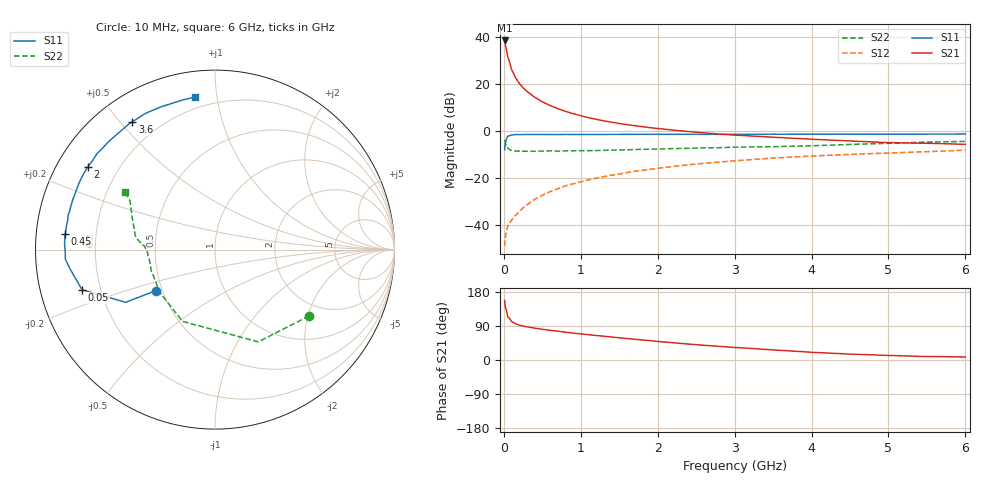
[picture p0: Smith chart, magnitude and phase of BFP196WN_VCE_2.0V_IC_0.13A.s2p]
! (c) 2017  Infineon Technologies AG, Munich
! Infineon Technologies  Discrete & RF Semiconductors
! BFP196WN
! VCE =  2.0 V,  IC = 0.13 A
! Common Emitter S-Parameters:  Jan 2017
# GHz  S  MA  R  50
!  f  S11  S21  S12  S22
! GHz  MAG  ANG  MAG  ANG  MAG  ANG  MAG  ANG
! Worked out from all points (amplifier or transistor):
!   77 points, 10 MHz to 6 GHz, reference 50 ohm
!   highest |S21| = 38.3 dB at 10 MHz (marker M1)
!   |S21| within 3 dB of that: start of sweep to 27.75 MHz
!   unconditionally stable (mu >= 1): 216.4 MHz to 3.402 GHz; 4.282 GHz to 5.434 GHz
!   at 130 MHz: K = 0.84, MSG = 30.4 dB, |S12| = -36.6 dB
!   at 2.2 GHz: K = 1.05, MAG = 6.3 dB, |S12| = -15.1 dB
!   at 6 GHz: K = 0.98, MSG = 1.2 dB, |S12| = -8.2 dB
!   S11 on the Smith chart (normalised r, x): 10 MHz: 0.46, -0.25; 50 MHz: 0.13, -0.15; 450 MHz: 0.09, +0.05; 2 GHz: 0.09, +0.29; 3.6 GHz: 0.11, +0.54; 6 GHz: 0.14, +0.87
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0.01  0.3984 -145.1  82.49 157.4  0.0036 68.9  0.6414 -35.2
0.02  0.5786 -149.5  66.9 139.1  0.0058 61.8  0.5676 -64.9
0.05  0.774 -163.2  37.44 113.9  0.0095 48.8  0.4389 -114.4
0.1  0.8158 -172.6  19.98 101.2  0.0128 53.8  0.389 -142.8
0.15  0.8358 -176.4  13.57 95.6  0.0161 58.3  0.3735 -155.0
0.2  0.8342 -179.0  10.24 92.1  0.0193 65.3  0.3745 -161.1
0.25  0.8364 179.3  8.206 89.5  0.0233 67.3  0.3713 -164.6
0.3  0.8389 177.6  6.857 87.6  0.027 69.4  0.3695 -167.8
0.4  0.8394 174.9  5.164 84.0  0.0355 71.9  0.3698 -170.9
0.45  0.8387 173.9  4.648 82.7  0.0394 72.5  0.3714 -172.1
0.6  0.838 170.6  3.458 78.4  0.0515 72.8  0.3751 -175.2
0.7  0.8368 168.9  2.964 76.1  0.0591 74.1  0.3739 -176.6
0.9  0.838 165.0  2.312 71.1  0.0756 72.7  0.3784 -178.2
1.1  0.8393 161.7  1.91 66.8  0.0918 71.9  0.3821 179.8
1.5  0.8419 155.1  1.433 58.6  0.1222 68.9  0.3929 177.2
2  0.8464 147.0  1.124 49.0  0.1611 64.8  0.4113 175.0
2.1  0.8446 145.5  1.08 47.3  0.1683 63.9  0.4167 174.5
3.1  0.8434 130.3  0.797 31.9  0.2383 54.3  0.4536 169.2
3.6  0.8481 122.9  0.72 25.4  0.2702 49.5  0.4663 165.1
4.1  0.8511 115.8  0.655 19.4  0.2976 44.7  0.49 159.8
5.1  0.8499 105.1  0.56 11.4  0.3436 36.5  0.5516 149.9
6  0.8574 97.4  0.519 8.0  0.39 30.3  0.5978 147.3
